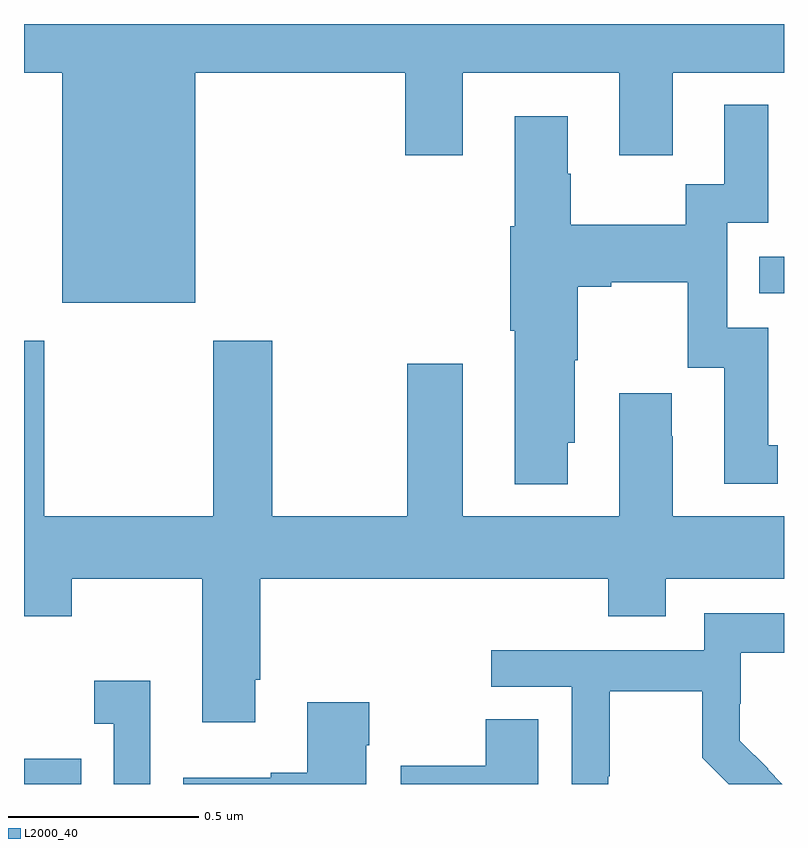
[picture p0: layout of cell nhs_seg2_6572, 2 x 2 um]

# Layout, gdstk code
import gdstk
lib = gdstk.Library(unit=1e-6, precision=1e-09)
def R(c, l, rs):  # rectangles x0, y0, x1, y1
    for r in rs: c.add(gdstk.rectangle(r[:2], r[2:], *l))
def P(c, l, *ps):  # polygons
    for p in ps: c.add(gdstk.Polygon(p, *l))
L2000_40 = (2000, 40)

nhs_seg2_6572 = lib.new_cell('nhs_seg2_6572')
R(nhs_seg2_6572, L2000_40, [(193,609.8,193.151,609.867), (194.935,611.091,195,611.187)])
P(nhs_seg2_6572, L2000_40, [(193.45,611.672),(194.003,611.672),(194.003,611.454),(194.155,611.454),(194.155,611.672),(194.567,611.672),(194.567,611.454),(194.707,611.454),(194.707,611.672),(195,611.672),(195,611.8),(193,611.8),(193,611.672),(193.1,611.672),(193.1,611.066),(193.45,611.066)],
  [(194.431,610.698),(194.449,610.698),(194.449,610.915),(194.457,610.915),(194.457,611.108),(194.545,611.108),(194.545,611.12),(194.747,611.12),(194.747,610.896),(194.843,610.896),(194.843,610.59),(194.983,610.59),(194.983,610.692),(194.959,610.692),(194.959,611.001),(194.85,611.001),(194.85,611.277),(194.959,611.277),(194.959,611.587),(194.843,611.587),(194.843,611.378),(194.742,611.378),(194.742,611.272),(194.439,611.272),(194.439,611.406),(194.431,611.406),(194.431,611.557),(194.291,611.557),(194.291,611.268),(194.279,611.268),(194.279,610.993),(194.291,610.993),(194.291,610.589),(194.431,610.589)],
  [(193.609,610.075),(193.622,610.075),(193.622,610.34),(194.537,610.34),(194.537,610.241),(194.689,610.241),(194.689,610.34),(195,610.34),(195,610.504),(194.707,610.504),(194.707,610.715),(194.704,610.715),(194.704,610.828),(194.567,610.828),(194.567,610.504),(194.155,610.504),(194.155,610.906),(194.008,610.906),(194.008,610.504),(193.653,610.504),(193.653,610.966),(193.498,610.966),(193.498,610.504),(193.053,610.504),(193.053,610.966),(193,610.966),(193,610.241),(193.125,610.241),(193.125,610.34),(193.469,610.34),(193.469,609.963),(193.609,609.963)],
  [(194.538,609.82),(194.541,609.82),(194.541,610.044),(194.785,610.044),(194.785,609.869),(194.854,609.8),(194.996,609.8),(194.957,609.839),(194.958,609.84),(194.884,609.914),(194.884,610.011),(194.886,610.011),(194.886,610.145),(195,610.145),(195,610.249),(194.79,610.249),(194.79,610.152),(194.229,610.152),(194.229,610.056),(194.442,610.056),(194.442,609.8),(194.538,609.8)],
  [(193.332,610.072),(193.185,610.072),(193.185,609.959),(193.236,609.959),(193.236,609.8),(193.332,609.8)],
  [(193.9,609.902),(193.908,609.902),(193.908,610.015),(193.745,610.015),(193.745,609.83),(193.649,609.83),(193.649,609.817),(193.419,609.817),(193.419,609.8),(193.9,609.8)],
  [(194.353,609.971),(194.215,609.971),(194.215,609.848),(193.992,609.848),(193.992,609.8),(194.353,609.8)])

lib.write_gds('nhs_seg2_6572.gds')
